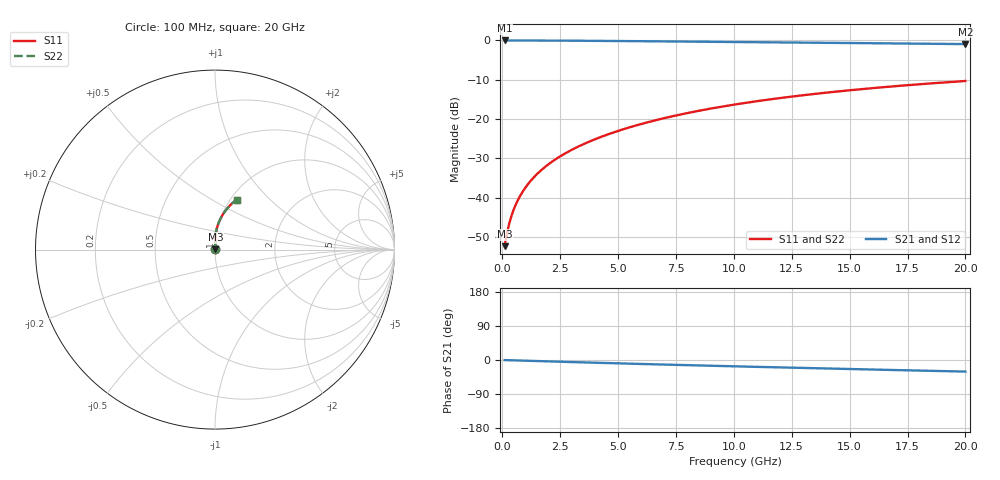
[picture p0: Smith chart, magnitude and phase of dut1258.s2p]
! Touchstone file exported from HFSS 2024.1.0
!  File:  C:/UserFiles/LocalFiles/RDL_TSV_Batchsim/temp_RDL_bottom_1258_1780245668.aedt
!  Generated:  12:44:07 AM Jun  1, 2026
!  Design:  RDL_bottom
!  Project:  temp_RDL_bottom_1258_1780245668
!  Setup:  Setup1
!  Solution:  Sweep
! Variables:
!  dtsv = 10.80580581um
!  hbump = 3um
!  htsv = 59.95um
!  ldown = 402.36um
!  lrdl = 100um
!  p = 40
!  p1 = 56.89um
!  rhole = 1um
!  t = 450um
!  tdown = 3.33um
!  trdl = 3.915915916um
!  wdown = 25.57um
!  wrdl = 20um
# GHz S MA R 50.000000
! Terminal data exported
! Port[1] = RDL1_T1
! Port[2] = RDL1_T2
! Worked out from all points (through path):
!   200 points, 100 MHz to 20 GHz, reference 50 ohm
!   highest |S21| = -0.02 dB at 100 MHz (marker M1); lowest = -0.9 dB at 20 GHz (marker M2)
!   group delay of S21, straight-line fit = 4.2 ps
!   lowest |S11| = -52.4 dB at 100 MHz (marker M3), VSWR 1.00, Z = 50.2 + j0.145 ohm
!   |S11| at or under -10 dB: start of sweep to end of sweep
!   |S22| runs from -52.4 to -10.3 dB; largest |S21 - S12| = 3.1e-15
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0.1  0.002401 37.0  0.9981 -0.2  0.9981 -0.2  0.002401 37.0
! Gamma 0 0 0 0
! Port Impedance 50 0 50 0
0.2  0.003477 54.7  0.998 -0.4  0.998 -0.4  0.003477 54.7
0.3  0.004669 63.2  0.9978 -0.6  0.9978 -0.6  0.004669 63.2
0.4  0.005884 68.3  0.9977 -0.8  0.9977 -0.8  0.005884 68.3
0.5  0.007108 71.8  0.9975 -0.9  0.9975 -0.9  0.007108 71.8
0.6  0.008343 74.4  0.9974 -1.1  0.9974 -1.1  0.008343 74.4
0.8  0.01085 78.0  0.9971 -1.5  0.9971 -1.5  0.01085 78.0
1.1  0.01467 81.3  0.9966 -2.0  0.9966 -2.0  0.01467 81.3
1.5  0.01989 83.9  0.9958 -2.8  0.9958 -2.8  0.01989 83.9
1.8  0.02387 85.2  0.9951 -3.3  0.9951 -3.3  0.02387 85.2
2.1  0.02792 86.1  0.9943 -3.9  0.9943 -3.9  0.02792 86.1
2.7  0.03621 87.3  0.9923 -4.9  0.9923 -4.9  0.03621 87.3
3.5  0.04769 88.1  0.9891 -6.3  0.9891 -6.3  0.04769 88.1
4.2  0.05811 88.3  0.9859 -7.5  0.9859 -7.5  0.0581 88.3
5  0.0704 88.1  0.9819 -8.9  0.9819 -8.9  0.07039 88.1
5.9  0.08464 87.5  0.9771 -10.3  0.9771 -10.3  0.08463 87.4
6.8  0.0992 86.6  0.9721 -11.8  0.9721 -11.8  0.09919 86.6
8.4  0.1255 84.5  0.9632 -14.3  0.9632 -14.3  0.1255 84.5
10.1  0.1536 82.0  0.9536 -16.8  0.9536 -16.8  0.1536 82.0
13.4  0.2069 76.7  0.935 -21.6  0.935 -21.6  0.2069 76.7
16.7  0.2573 71.5  0.9162 -26.2  0.9162 -26.2  0.2573 71.5
20  0.3042 66.5  0.897 -30.6  0.897 -30.6  0.3041 66.5
